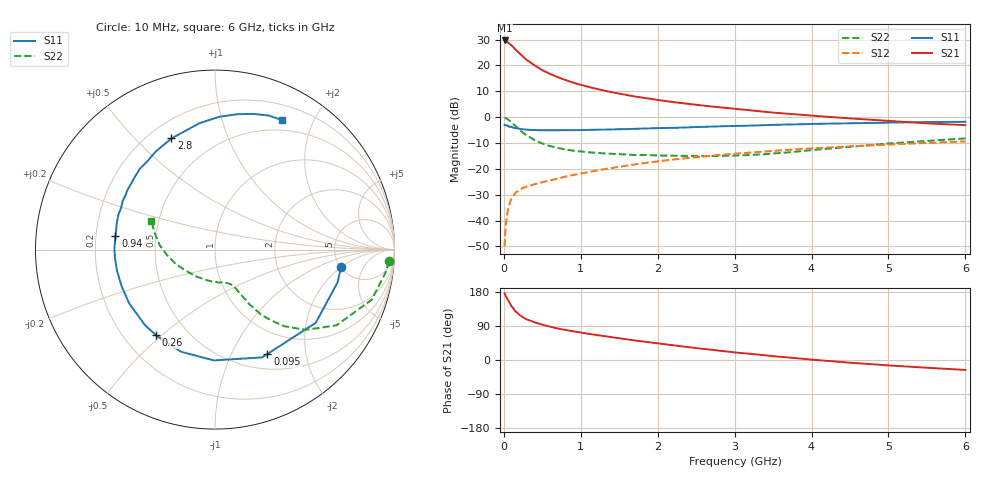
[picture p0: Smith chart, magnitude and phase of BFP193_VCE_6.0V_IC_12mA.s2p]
! Infineon Technologies  Discrete & RF Semiconductors
! BFP193
! VCE = 6.0 V,  IC =  12 mA
! Common Emitter S-Parameters:  Jan 2016
# GHz  S  MA  R  50
!  f  S11  S21  S12  S22
! GHz  MAG  ANG  MAG  ANG  MAG  ANG  MAG  ANG
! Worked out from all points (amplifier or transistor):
!   210 points, 10 MHz to 6 GHz, reference 50 ohm
!   highest |S21| = 29.7 dB at 10 MHz (marker M1)
!   |S21| within 3 dB of that: start of sweep to 134.9 MHz
!   unconditionally stable (mu >= 1): 965.6 MHz to 3.751 GHz
!   at 185 MHz: K = 0.36, MSG = 26.8 dB, |S12| = -28.5 dB
!   at 1.52 GHz: K = 1.08, MAG = 12.4 dB, |S12| = -19.1 dB
!   at 6 GHz: K = 0.90, MSG = 3.1 dB, |S12| = -9.4 dB
!   S11 on the Smith chart (normalised r, x): 10 MHz: 5.11, -1.95; 95 MHz: 0.69, -1.39; 260 MHz: 0.33, -0.48; 940 MHz: 0.28, +0.06; 2.8 GHz: 0.29, +0.64; 6 GHz: 0.37, +1.58
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0.01  0.7093 -7.7  30.4 176.1  0.0032 86.7  0.9705 -3.8
0.02  0.7068 -15.0  29.69 170.6  0.0064 85.8  0.9606 -7.4
0.05  0.6938 -36.0  28.22 158.7  0.0153 74.4  0.9162 -17.8
0.095  0.6507 -63.3  24.75 143.7  0.0258 63.1  0.8065 -30.4
0.1  0.6555 -66.4  24.48 141.8  0.027 62.4  0.7971 -32.0
0.15  0.6176 -90.6  20.43 128.5  0.0343 53.6  0.673 -41.6
0.2  0.5994 -108.1  17.29 119.4  0.039 49.5  0.5754 -47.9
0.24  0.5826 -119.4  15.17 113.8  0.042 46.9  0.5125 -51.0
0.26  0.579 -124.4  14.26 111.3  0.0434 46.1  0.4857 -52.4
0.3  0.5741 -132.7  12.71 106.9  0.0456 45.5  0.4407 -54.8
0.4  0.5643 -148.0  9.973 99.2  0.0507 44.8  0.3592 -57.8
0.5  0.5589 -158.7  8.091 92.9  0.0551 45.2  0.3089 -59.3
0.7  0.5593 -175.0  5.929 83.1  0.0648 47.9  0.2539 -61.6
0.94  0.5599 172.1  4.464 74.5  0.0782 49.7  0.2212 -63.9
1.02  0.563 168.1  4.128 71.8  0.0822 49.9  0.2149 -65.0
1.4  0.5812 152.5  3.031 60.2  0.1039 50.5  0.1965 -71.8
2.02  0.6145 132.6  2.128 43.4  0.1408 47.7  0.1811 -87.8
2.8  0.6657 111.4  1.551 24.6  0.1849 41.3  0.1777 -115.0
3.1  0.6794 104.8  1.396 18.3  0.2016 38.5  0.1826 -127.0
4.1  0.7441 86.6  1.043 -0.6  0.2534 28.6  0.2368 -162.2
5.1  0.7886 73.0  0.829 -15.5  0.2995 18.1  0.3157 173.2
6  0.8125 62.6  0.701 -26.2  0.3397 8.7  0.388 155.9
